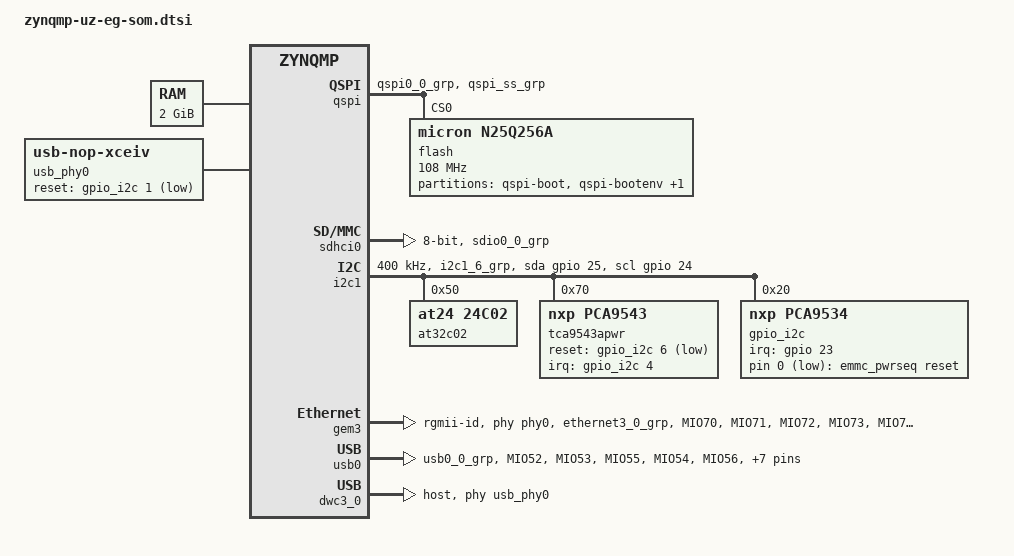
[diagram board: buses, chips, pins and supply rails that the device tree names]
/*
 * DTS file for ZynqMP UltraZed-EG SOM
 *
 * Copyright 2019 (C), Istituto Italiano di Tecnologia
 * Electronic Design Laboratory
 *
 * Written by Andrea Merello <andrea.merello@gmail.com>
 *
 * Based on
 *   dts file for Xilinx ZynqMP ZCU102 RevA
 *   (C) Copyright 2015, Xilinx, Inc.
 *   Michal Simek <michal.simek@xilinx.com>
 *
 * This program is free software; you can redistribute it and/or
 * modify it under the terms of the GNU General Public License as
 * published by the Free Software Foundation; either version 2 of
 * the License, or (at your option) any later version.
 */

/include/ "zynqmp.dtsi"
/include/ "zynqmp-clk-ccf.dtsi"

#include <dt-bindings/gpio/gpio.h>
#include <dt-bindings/pinctrl/pinctrl-zynqmp.h>
#include <dt-bindings/interrupt-controller/irq.h>
#include <dt-bindings/phy/phy.h>
/ {
	aliases {
		ethernet0 = &gem3;
	};
	memory {
		device_type = "memory";
		reg = <0x0 0x0 0x0 0x80000000>;
	};

	emmc_pwrseq: pwrseq {
		compatible = "mmc-pwrseq-emmc";
		reset-gpios = <&gpio_i2c 0 GPIO_ACTIVE_LOW>;
	};

	usb_phy0: phy0 {
		compatible = "usb-nop-xceiv";
		#phy-cells = <0>;
		reset-gpios = <&gpio_i2c 1 GPIO_ACTIVE_LOW>;
	};
};

&qspi {
	status = "okay";
	is-dual = <1>;
	pinctrl-names = "default";
	pinctrl-0 = <&pinctrl_qspi_default>;

	flash@0 {
		compatible = "micron,n25q256a","m25p80","jedec,spi-nor";
		#address-cells = <1>;
		#size-cells = <1>;
		reg = <0x0>;
		spi-tx-bus-width=<1>;
		spi-rx-bus-width=<4>;
		spi-max-frequency = <108000000>;
		partition@qspi-boot {
			label = "qspi-boot";
			reg = <0x00000000 0x00780000>;
		};
		partition@qspi-bootenv {
			label = "qspi-bootenv";
			reg = <0x00780000 0x00080000>;
		};
		partition@qspi-kernel {
			label = "qspi-linux";
			reg = <0x00800000 0x03800000>;
		};
	};
};

/* MTFC8 emmc */
&sdhci0 {
	clock-frequency = <199998000>;
	status = "okay";
	xlnx,mio_bank = <0x0>;
	pinctrl-names = "default";
	pinctrl-0 = <&pinctrl_sdhci0_default>;
	disable-wp;
	broken-cd;
	bus-width = <0x8>;
	max-frequency = <50000000>;
	mmc-pwrseq = <&emmc_pwrseq>;
};

&i2c1 {
	clock-frequency = <400000>;
	status = "okay";
	pinctrl-names = "default", "gpio";
	pinctrl-0 = <&pinctrl_i2c1_default>;
	pinctrl-1 = <&pinctrl_i2c1_gpio>;
	scl-gpios = <&gpio 24 GPIO_ACTIVE_HIGH>;
	sda-gpios = <&gpio 25 GPIO_ACTIVE_HIGH>;

	at32c02@50 {
		compatible = "at24,24c02";
		reg = <0x50>;
	};
	tca9543apwr@70 {
		compatible = "nxp,pca9543";
		#address-cells = <0x1>;
		#size-cells = <0x0>;
		reg = <0x70>;
		interrupt-parent = <&gpio_i2c>;
		interrupts = <4 IRQ_TYPE_EDGE_FALLING>;
		interrupt-controller;
		#interrupt-cells = <2>;
		reset-gpios = <&gpio_i2c 6 GPIO_ACTIVE_LOW>;
		i2c_cc: i2c@0 {
			#address-cells = <0x1>;
			#size-cells = <0x0>;
			reg = <0x0>;
		};
		i2c_pmbus: i2c@1 {
			#address-cells = <0x1>;
			#size-cells = <0x0>;
			reg = <0x1>;
		};
	};
	gpio_i2c: tca9534pwr@20 {
		compatible = "nxp,pca9534";
		reg = <0x20>;
		gpio-controller;
		#gpio-cells = <2>;
		interrupt-controller;
		#interrupt-cells =<2>;
		interrupt-parent = <&gpio>;
		interrupts = <23 IRQ_TYPE_EDGE_FALLING>;
		gem_pdn {
			gpio-hog;
			gpios = <3 0>;
			output-high;
			line-name = "gem3_pdn_n";
		};
		cc_rst {
			gpio-hog;
			gpios = <7 0>;
			output-high;
			line-name = "cc_rst_n";
		};
	};
};

&gem3 {
	phy-mode = "rgmii-id";
	xlnx,ptp-enet-clock = <0x0>;
	/* dp83867 PHY */
	pinctrl-names = "default";
	pinctrl-0 = <&pinctrl_gem3_default>;

	phy-handle = <&phy0>;
	phy0: dp83867@9 {
		reset-gpios = <&gpio_i2c 2 GPIO_ACTIVE_LOW>;
		reg = <9>;
		ti,rx-internal-delay = <0x5>;
		ti,tx-internal-delay = <0x5>;
		ti,fifo-depth = <0x1>;
	};
};

/* ULPI USB3320 */
&usb0 {
	pinctrl-names = "default";
	pinctrl-0 = <&pinctrl_usb0_default>;
};

&dwc3_0 {
	dr_mode = "host";
	usb-phy = <&usb_phy0>;
};

&pinctrl0 {
	status = "okay";
	pinctrl_usb0_default: usb0-default {
		mux {
			groups = "usb0_0_grp";
			function = "usb0";
		};

		conf {
			groups = "usb0_0_grp";
			slew-rate = <SLEW_RATE_SLOW>;
			io-standard = <IO_STANDARD_LVCMOS18>;
		};

		conf-rx {
			pins = "MIO52", "MIO53", "MIO55";
			bias-high-impedance;
		};

		conf-tx {
			pins = "MIO54", "MIO56", "MIO57", "MIO58", "MIO59",
			"MIO60", "MIO61", "MIO62", "MIO63";
			bias-disable;
		};
	};

	pinctrl_gem3_default: gem3-default {
		mux {
			function = "ethernet3";
			groups = "ethernet3_0_grp";
		};

		conf {
			groups = "ethernet3_0_grp";
			slew-rate = <SLEW_RATE_SLOW>;
			io-standard = <IO_STANDARD_LVCMOS18>;
		};

		conf-rx {
			pins = "MIO70", "MIO71", "MIO72", "MIO73", "MIO74",
									"MIO75";
			bias-high-impedance;
			low-power-disable;
		};

		conf-tx {
			pins = "MIO64", "MIO65", "MIO66", "MIO67", "MIO68",
									"MIO69";
			bias-disable;
			low-power-enable;
		};

		mux-mdio {
			function = "mdio3";
			groups = "mdio3_0_grp";
		};

		conf-mdio {
			groups = "mdio3_0_grp";
			slew-rate = <SLEW_RATE_SLOW>;
			io-standard = <IO_STANDARD_LVCMOS18>;
			bias-disable;
		};
	};

	pinctrl_i2c1_default: i2c1-default {
		mux {
			groups = "i2c1_6_grp";
			function = "i2c1";
		};

		conf {
			groups = "i2c1_6_grp";
			bias-pull-up;
			slew-rate = <SLEW_RATE_SLOW>;
			io-standard = <IO_STANDARD_LVCMOS18>;
		};
	};

	pinctrl_i2c1_gpio: i2c1-gpio {
		mux {
			groups = "gpio0_24_grp", "gpio0_25_grp";
			function = "gpio0";
		};

		conf {
			groups = "gpio0_24_grp", "gpio0_25_grp";
			slew-rate = <SLEW_RATE_SLOW>;
			io-standard = <IO_STANDARD_LVCMOS18>;
		};
	};

	pinctrl_sdhci0_default: sdhci0-default {
		mux {
			groups = "sdio0_0_grp";
			function = "sdio0";
		};

		conf {
			groups = "sdio0_0_grp";
			slew-rate = <SLEW_RATE_SLOW>;
			io-standard = <IO_STANDARD_LVCMOS18>;
			bias-disable;
		};
	};

	pinctrl_qspi_default: qspi-default {
		mux {
			groups = "qspi0_0_grp";
			function = "qspi0";
		};

		conf {
			groups = "qspi0_0_grp";
			slew-rate = <SLEW_RATE_SLOW>;
			io-standard = <IO_STANDARD_LVCMOS18>;
			bias-disable;
		};

		mux-ss {
			function = "qspi_ss";
			groups = "qspi_ss_grp";
		};

		conf-ss {
			groups = "qspi_ss_grp";
			slew-rate = <SLEW_RATE_SLOW>;
			io-standard = <IO_STANDARD_LVCMOS18>;
			bias-disable;
		};
	};
};
